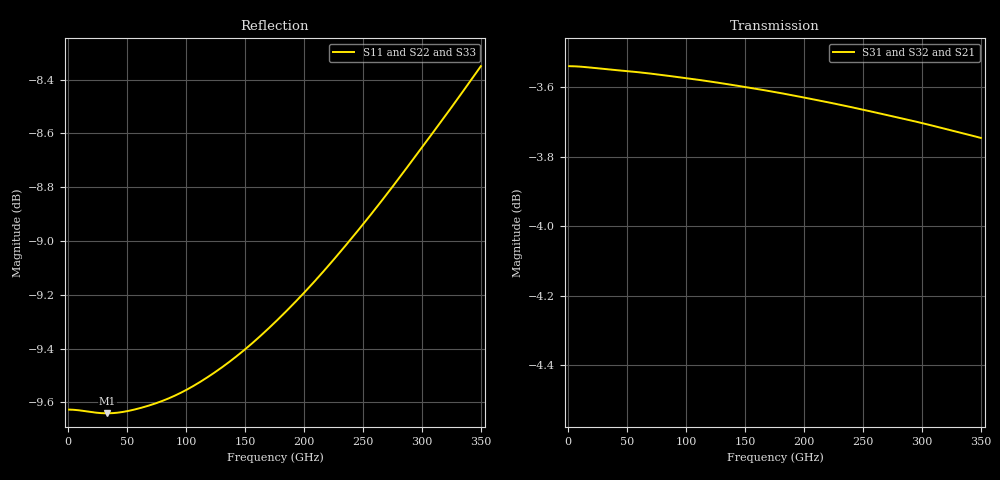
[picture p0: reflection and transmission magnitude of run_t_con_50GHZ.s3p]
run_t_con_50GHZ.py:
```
import os
import sys
sys.path.insert(0, os.path.abspath(os.path.join(os.path.dirname(__file__), 'modules')))

import modules.util_stackup_reader as stackup_reader
import util_gds_reader as gds_reader
import util_utilities as utilities
import util_simulation_setup as simulation_setup
import util_meshlines

import os
from pylab import *
from CSXCAD import ContinuousStructure
from CSXCAD import AppCSXCAD_BIN
from openEMS import openEMS
from openEMS.physical_constants import *

# Model comments


# ======================== workflow settings ================================

# preview model/mesh only?
# postprocess existing data without re-running simulation?
preview_only = False
postprocess_only = False

# ===================== input files and path settings =======================

# GDS filename
gds_filename = "../layout_gds/t_connector.gds"      # geometries
XML_filename = "SG13G2.xml"       # stackup

# preprocess GDSII for safe handling of cutouts/holes?
preprocess_gds = False

# merge polygons with distance less than xxx um, or set to 0 to disable via array merging
merge_polygon_size = 0.5

# get path for this simulation file
script_path = utilities.get_script_path(__file__)

# use script filename as model basename
model_basename = utilities.get_basename(__file__)

# set and create directory for simulation output
sim_path = utilities.create_sim_path (script_path,model_basename)
print('Simulation data directory: ', sim_path)


# ======================== simulation settings ================================

unit   = 1e-6   # geometry is in microns
margin = 50    # distance in microns from GDSII geometry boundary to simulation boundary 

fstart = 0
fstop  = 350e9
numfreq = 401

refined_cellsize = 0.2  # mesh cell size in conductor region

# choices for boundary xmin,xmax,ymin,ymax,zmin,zmax: 
# 'PEC' : perfect electric conductor (default)
# 'PMC' : perfect magnetic conductor, useful for symmetries
# 'MUR' : simple MUR absorbing boundary conditions
# 'PML_8' : PML absorbing boundary conditions
Boundaries = ['PEC', 'PEC', 'PEC', 'PEC', 'PEC', 'PEC']

cells_per_wavelength = 20   # how many mesh cells per wavelength, must be 10 or more
energy_limit = -50          # end criteria for residual energy (dB)

# ports from GDSII Data, polygon geometry from specified special layer
# note that for multiport simulation, excitations are switched on/off in simulation_setup.createSimulation below
simulation_ports = simulation_setup.all_simulation_ports()
# instead of in-plane port specified with target_layername, we here use via port specified with from_layername and to_layername. GND means bottom of simulation box
simulation_ports.add_port(simulation_setup.simulation_port(portnumber=1, voltage=1, port_Z0=50, source_layernum=201, from_layername='Metal3', to_layername='TopMetal2', direction='z'))
simulation_ports.add_port(simulation_setup.simulation_port(portnumber=2, voltage=1, port_Z0=50, source_layernum=202, from_layername='Metal3', to_layername='TopMetal2', direction='z'))
simulation_ports.add_port(simulation_setup.simulation_port(portnumber=3, voltage=1, port_Z0=50, source_layernum=203, from_layername='Metal3', to_layername='TopMetal2', direction='z'))


# ======================== simulation ================================

# get technology stackup data
materials_list, dielectrics_list, metals_list = stackup_reader.read_substrate (XML_filename)
# get list of layers from technology
layernumbers = metals_list.getlayernumbers()
layernumbers.extend(simulation_ports.portlayers)

# read geometries from GDSII, only purpose 0
allpolygons = gds_reader.read_gds(gds_filename, layernumbers, purposelist=[0], metals_list=metals_list, preprocess=preprocess_gds, merge_polygon_size=merge_polygon_size)


# calculate maximum cellsize from wavelength in dielectric
wavelength_air = 3e8/fstop
max_cellsize = (wavelength_air/unit)/(sqrt(materials_list.eps_max)*cells_per_wavelength) 


########### create model, run and post-process ###########




FDTD = openEMS(EndCriteria=exp(energy_limit/10 * log(10)))
FDTD.SetGaussExcite( (fstart+fstop)/2, (fstop-fstart)/2 )
FDTD.SetBoundaryCond( Boundaries )

excite_ports_list = [[1],[2],[3]]  # list of ports that are excited in the different excitation runs
for excite_ports in excite_ports_list:
    # define excitation and stop criteria and boundaries
    FDTD = simulation_setup.setupSimulation (excite_ports, simulation_ports, FDTD, materials_list, dielectrics_list, metals_list, allpolygons, max_cellsize, refined_cellsize, margin, unit, xy_mesh_function=util_meshlines.create_xy_mesh_from_polygons)
    simulation_setup.runSimulation (excite_ports, FDTD, sim_path, model_basename, preview_only, postprocess_only)



if preview_only==False:

    print('Begin data evaluation')

    # define dB function for S-parameters
    def dB(value):
        return 20.0*np.log10(np.abs(value))        

    # define phase function for S-parameters
    def phase(value):
        return angle(value, deg=True) 

    f = np.linspace(fstart,fstop,numfreq)

    # get results, CSX port definition is read from simulation ports object
    # all S-parameter data is available because we have simulated all port excitations
    s11 = utilities.calculate_Sij (1, 1, f, sim_path, simulation_ports)
    s21 = utilities.calculate_Sij (2, 1, f, sim_path, simulation_ports)
    s31 = utilities.calculate_Sij (3, 1, f, sim_path, simulation_ports)
    s12 = utilities.calculate_Sij (1, 2, f, sim_path, simulation_ports)
    s22 = utilities.calculate_Sij (2, 2, f, sim_path, simulation_ports)
    s32 = utilities.calculate_Sij (3, 2, f, sim_path, simulation_ports)
    s13 = utilities.calculate_Sij (1, 3, f, sim_path, simulation_ports)
    s23 = utilities.calculate_Sij (2, 3, f, sim_path, simulation_ports)
    s33 = utilities.calculate_Sij (3, 3, f, sim_path, simulation_ports)


    s3p_name = os.path.join(sim_path, model_basename + '.s3p')
    utilities.write_snp (np.array([[s11,s21,s31], [s12,s22,s32], [s13,s23,s33]]),f, s3p_name)

    print('\nStarting plots')

    figure()
    plot(f/1e9, dB(s21), 'k-',  linewidth=2, label='S11 [dB]')
    grid()
    legend()
    xlabel('Frequency (GHz)')

    figure()
    plot(f/1e9, phase(s21), 'k-',  linewidth=2, label='S11 phase [degree]')
    grid()
    legend()
    xlabel('Frequency (GHz)')


    # Show all plots
    show()
```
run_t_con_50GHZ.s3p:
#  Hz  S  RI  R  50
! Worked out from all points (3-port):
!   400 points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, 875 MHz to 350 GHz, reference 50 ohm
!   strongest paths, dB at 875 MHz, 88.38 GHz, 175.9 GHz, 263.4 GHz, 350 GHz:
!     S31: -3.5, -3.6, -3.6, -3.7, -3.7
!     S32: -3.5, -3.6, -3.6, -3.7, -3.7
!     S21: -3.5, -3.6, -3.7, -3.8, -3.9
!   lowest |S11| = -9.6 dB at 33.25 GHz (marker M1), VSWR 1.98, Z = 25.3 + j2.14 ohm
!   |S11| at or under -10 dB: nowhere
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8.75e8  -0.3301 0.00103  0.6647 -0.000865  0.6653 -0.000703
        0.6647 -0.000865  -0.3301 0.00103  0.6653 -0.000703
        0.6653 -0.000705  0.6653 -0.000706  -0.3307 0.000863
3.325e10  -0.3274 0.0377  0.663 -0.0321  0.6641 -0.0262
          0.663 -0.0321  -0.3274 0.0378  0.6641 -0.0262
          0.6641 -0.0262  0.6641 -0.0262  -0.3286 0.0319
1.0675e11  -0.3128 0.1158  0.6527 -0.0997  0.6574 -0.082
           0.6527 -0.0997  -0.3127 0.1159  0.6574 -0.082
           0.6574 -0.0819  0.6574 -0.082  -0.3175 0.0981
1.82e11  -0.2863 0.1903  0.6338 -0.1655  0.645 -0.1371
         0.6338 -0.1655  -0.2862 0.1905  0.645 -0.1371
         0.645 -0.137  0.6449 -0.1371  -0.2977 0.162
3.5e11  -0.1932 0.33  0.566 -0.2946  0.5995 -0.2508
        0.566 -0.2946  -0.193 0.3302  0.5995 -0.2509
        0.5995 -0.2505  0.5994 -0.2506  -0.2274 0.2865
